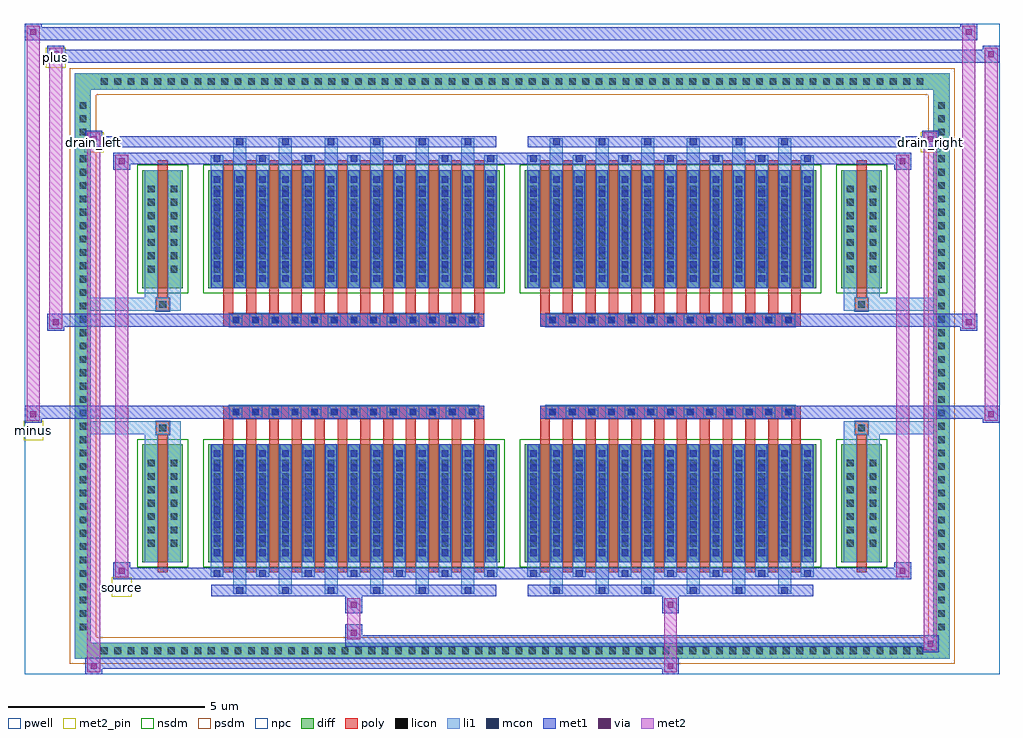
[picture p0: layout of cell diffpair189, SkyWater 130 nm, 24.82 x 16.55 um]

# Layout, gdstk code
import gdstk
lib = gdstk.Library(unit=1e-6, precision=5e-09)
def R(c, l, rs):  # rectangles x0, y0, x1, y1
    for r in rs: c.add(gdstk.rectangle(r[:2], r[2:], *l))
def A(c, l, x, y, w, h, nx, ny, dx, dy):  # array of equal rectangles
    R(c, l, [(x+i*dx, y+j*dy, x+i*dx+w, y+j*dy+h) for i in range(nx) for j in range(ny)])
def P(c, l, *ps):  # polygons
    for p in ps: c.add(gdstk.Polygon(p, *l))
pwell = (64, 44)
diff = (65, 20)
poly = (66, 20)
licon = (66, 44)
li1 = (67, 20)
mcon = (67, 44)
met1 = (68, 20)
via = (68, 44)
met2_pin = (69, 16)
met2 = (69, 20)
nsdm = (93, 44)
psdm = (94, 20)
npc = (95, 20)

diffpair189 = lib.new_cell('diffpair189')
R(diffpair189, pwell, [(-12.39,-7.84,12.39,8.71), (-9.71,-6.03,-0.01,-0.805), (0.01,-6.03,9.71,-0.805), (-9.71,0.805,-0.01,6.03), (0.01,0.805,9.71,6.03)])
A(diffpair189, diff, -10.575, -7.44, 0.41, 0.41, 62, 2, 0.34, 14.47)
A(diffpair189, diff, -11.12, -6.835, 0.41, 0.41, 1, 40, 0, 0.34)
A(diffpair189, diff, 10.71, -6.835, 0.41, 0.41, 1, 40, 0, 0.34)
R(diffpair189, diff, [(-10.575,-7.44,10.575,-7.03), (-11.12,-6.835,-10.71,6.835), (10.71,-6.835,11.12,6.835), (-9.4,-4.985,-8.37,-1.985), (-7.73,-4.985,-0.32,-1.985), (0.32,-4.985,7.73,-1.985), (8.37,-4.985,9.4,-1.985), (-9.4,1.985,-8.37,4.985), (-7.73,1.985,-0.32,4.985), (0.32,1.985,7.73,4.985), (8.37,1.985,9.4,4.985), (-10.575,7.03,10.575,7.44)])
P(diffpair189, diff, [(11.12,7.44),(-11.12,7.44),(-11.12,-7.03),(-10.71,-7.03),(-10.71,7.03),(10.71,7.03),(10.71,-7.03),(-10.71,-7.03),(-11.12,-7.03),(-11.12,-7.44),(11.12,-7.44)])
A(diffpair189, poly, -7.34, -5.235, 0.25, 3.5, 12, 2, 0.58, 6.97)
A(diffpair189, poly, 0.71, -5.235, 0.25, 3.5, 12, 2, 0.58, 6.97)
A(diffpair189, poly, -7.34, -1.735, 0.25, 0.4, 12, 2, 0.58, 3.07)
A(diffpair189, poly, 0.71, -1.735, 0.25, 0.4, 12, 2, 0.58, 3.07)
A(diffpair189, poly, -7.19, -1.335, 0.33, 0.33, 13, 2, 0.5, 2.34)
A(diffpair189, poly, 0.86, -1.335, 0.33, 0.33, 13, 2, 0.5, 2.34)
R(diffpair189, poly, [(-9.01,-5.235,-8.76,-1.735), (8.76,-5.235,9.01,-1.735), (-9.05,-1.735,-8.72,-1.405), (-9.05,-1.735,-8.72,-1.405), (8.72,-1.735,9.05,-1.405), (8.72,-1.735,9.05,-1.405), (-7.34,-1.335,-0.71,-1.005), (0.71,-1.335,7.34,-1.005), (-7.34,1.005,-0.71,1.335), (0.71,1.005,7.34,1.335), (-9.05,1.405,-8.72,1.735), (-9.05,1.405,-8.72,1.735), (8.72,1.405,9.05,1.735), (8.72,1.405,9.05,1.735), (-9.01,1.735,-8.76,5.235), (8.76,1.735,9.01,5.235)])
A(diffpair189, licon, -10.455, -7.32, 0.17, 0.17, 62, 2, 0.34, 14.47)
A(diffpair189, licon, -11, -6.715, 0.17, 0.17, 1, 40, 0, 0.34)
A(diffpair189, licon, 10.83, -6.715, 0.17, 0.17, 1, 40, 0, 0.34)
A(diffpair189, licon, -9.26, -4.59, 0.17, 0.17, 1, 7, 0, 0.34)
A(diffpair189, licon, -8.68, -4.59, 0.17, 0.17, 1, 7, 0, 0.34)
A(diffpair189, licon, -7.59, -4.59, 0.17, 0.17, 13, 7, 0.58, 0.34)
A(diffpair189, licon, 0.46, -4.59, 0.17, 0.17, 13, 7, 0.58, 0.34)
A(diffpair189, licon, 8.51, -4.59, 0.17, 0.17, 1, 7, 0, 0.34)
A(diffpair189, licon, 9.09, -4.59, 0.17, 0.17, 1, 7, 0, 0.34)
A(diffpair189, licon, -7.11, -1.255, 0.17, 0.17, 13, 2, 0.5, 2.34)
A(diffpair189, licon, 0.94, -1.255, 0.17, 0.17, 13, 2, 0.5, 2.34)
A(diffpair189, licon, -9.26, 2.38, 0.17, 0.17, 1, 7, 0, 0.34)
A(diffpair189, licon, -8.68, 2.38, 0.17, 0.17, 1, 7, 0, 0.34)
A(diffpair189, licon, -7.59, 2.38, 0.17, 0.17, 13, 7, 0.58, 0.34)
A(diffpair189, licon, 0.46, 2.38, 0.17, 0.17, 13, 7, 0.58, 0.34)
A(diffpair189, licon, 8.51, 2.38, 0.17, 0.17, 1, 7, 0, 0.34)
A(diffpair189, licon, 9.09, 2.38, 0.17, 0.17, 1, 7, 0, 0.34)
R(diffpair189, licon, [(-8.97,-1.655,-8.8,-1.485), (8.8,-1.655,8.97,-1.485), (-8.97,1.485,-8.8,1.655), (8.8,1.485,8.97,1.655)])
A(diffpair189, li1, -10.535, -7.4, 0.33, 0.33, 62, 2, 0.34, 14.47)
A(diffpair189, li1, -11.08, -6.795, 0.33, 0.33, 1, 40, 0, 0.34)
A(diffpair189, li1, 10.75, -6.795, 0.33, 0.33, 1, 40, 0, 0.34)
A(diffpair189, li1, -7.09, -5.79, 0.33, 0.805, 6, 2, 1.16, 10.775)
A(diffpair189, li1, -7.01, -5.79, 0.17, 0.17, 6, 2, 1.16, 11.41)
A(diffpair189, li1, 0.96, -5.79, 0.33, 0.805, 6, 2, 1.16, 10.775)
A(diffpair189, li1, 1.04, -5.79, 0.17, 0.17, 6, 2, 1.16, 11.41)
A(diffpair189, li1, -7.67, -5.36, 0.33, 0.375, 7, 2, 1.16, 10.345)
A(diffpair189, li1, -7.59, -5.36, 0.17, 0.17, 7, 2, 1.16, 10.55)
A(diffpair189, li1, 0.38, -5.36, 0.33, 0.375, 7, 2, 1.16, 10.345)
A(diffpair189, li1, 0.46, -5.36, 0.17, 0.17, 7, 2, 1.16, 10.55)
A(diffpair189, li1, -7.67, -4.985, 0.33, 3, 13, 2, 0.58, 6.97)
A(diffpair189, li1, 0.38, -4.985, 0.33, 3, 13, 2, 0.58, 6.97)
A(diffpair189, li1, -7.59, -4.83, 0.17, 0.17, 13, 8, 0.58, 0.36)
A(diffpair189, li1, -7.59, -4.83, 0.17, 2.69, 13, 2, 0.58, 6.97)
A(diffpair189, li1, 0.46, -4.83, 0.17, 0.17, 13, 8, 0.58, 0.36)
A(diffpair189, li1, 0.46, -4.83, 0.17, 2.69, 13, 2, 0.58, 6.97)
A(diffpair189, li1, -9.34, -4.67, 0.33, 0.33, 1, 7, 0, 0.34)
A(diffpair189, li1, -8.76, -4.67, 0.33, 0.33, 1, 7, 0, 0.34)
A(diffpair189, li1, -7.67, -4.67, 0.33, 0.33, 13, 7, 0.58, 0.34)
A(diffpair189, li1, 0.38, -4.67, 0.33, 0.33, 13, 7, 0.58, 0.34)
A(diffpair189, li1, 8.43, -4.67, 0.33, 0.33, 1, 7, 0, 0.34)
A(diffpair189, li1, 9.01, -4.67, 0.33, 0.33, 1, 7, 0, 0.34)
A(diffpair189, li1, -7.19, -1.335, 0.33, 0.33, 13, 2, 0.5, 2.34)
A(diffpair189, li1, 0.86, -1.335, 0.33, 0.33, 13, 2, 0.5, 2.34)
A(diffpair189, li1, -7.59, 2.14, 0.17, 0.17, 13, 8, 0.58, 0.36)
A(diffpair189, li1, 0.46, 2.14, 0.17, 0.17, 13, 8, 0.58, 0.36)
A(diffpair189, li1, -9.34, 2.3, 0.33, 0.33, 1, 7, 0, 0.34)
A(diffpair189, li1, -8.76, 2.3, 0.33, 0.33, 1, 7, 0, 0.34)
A(diffpair189, li1, -7.67, 2.3, 0.33, 0.33, 13, 7, 0.58, 0.34)
A(diffpair189, li1, 0.38, 2.3, 0.33, 0.33, 13, 7, 0.58, 0.34)
A(diffpair189, li1, 8.43, 2.3, 0.33, 0.33, 1, 7, 0, 0.34)
A(diffpair189, li1, 9.01, 2.3, 0.33, 0.33, 1, 7, 0, 0.34)
R(diffpair189, li1, [(-11.12,-7.44,-10.71,-7.03), (-11.12,-7.44,-10.71,-7.03), (-10.71,-7.44,10.71,-7.03), (10.71,-7.44,11.12,-7.03), (10.71,-7.44,11.12,-7.03), (-11.12,-7.03,-10.71,7.03), (10.71,-7.03,11.12,7.03), (-9.34,-4.985,-9.01,-1.985), (-8.76,-4.985,-8.43,-1.985), (8.43,-4.985,8.76,-1.985), (9.01,-4.985,9.34,-1.985), (-9.34,-1.985,-9.01,-1.405), (-8.76,-1.985,-8.43,-1.405), (8.43,-1.985,8.76,-1.405), (9.01,-1.985,9.34,-1.405), (-11.12,-1.735,-9.05,-1.405), (-9.34,-1.735,-9.05,-1.405), (-9.05,-1.735,-8.72,-1.405), (-8.72,-1.735,-8.43,-1.405), (8.43,-1.735,8.72,-1.405), (8.72,-1.735,9.05,-1.405), (8.72,-1.735,11.12,-1.405), (9.05,-1.735,9.34,-1.405), (-11.12,1.405,-9.05,1.735), (-9.34,1.405,-9.05,1.735), (-9.34,1.405,-9.01,1.985), (-9.05,1.405,-8.72,1.735), (-8.76,1.405,-8.43,1.985), (-8.72,1.405,-8.43,1.735), (8.43,1.405,8.72,1.735), (8.43,1.405,8.76,1.985), (8.72,1.405,9.05,1.735), (8.72,1.405,11.12,1.735), (9.01,1.405,9.34,1.985), (9.05,1.405,9.34,1.735), (-9.34,1.985,-9.01,4.985), (-8.76,1.985,-8.43,4.985), (8.43,1.985,8.76,4.985), (9.01,1.985,9.34,4.985), (-11.12,7.03,-10.71,7.44), (-11.12,7.03,-10.71,7.44), (-10.71,7.03,10.71,7.44), (10.71,7.03,11.12,7.44), (10.71,7.03,11.12,7.44)])
A(diffpair189, mcon, -7.01, -5.79, 0.17, 0.17, 6, 2, 1.16, 11.41)
A(diffpair189, mcon, 1.04, -5.79, 0.17, 0.17, 6, 2, 1.16, 11.41)
A(diffpair189, mcon, -7.59, -5.36, 0.17, 0.17, 7, 2, 1.16, 10.55)
A(diffpair189, mcon, 0.46, -5.36, 0.17, 0.17, 7, 2, 1.16, 10.55)
A(diffpair189, mcon, -7.59, -4.83, 0.17, 0.17, 13, 8, 0.58, 0.36)
A(diffpair189, mcon, 0.46, -4.83, 0.17, 0.17, 13, 8, 0.58, 0.36)
A(diffpair189, mcon, -7.11, -1.255, 0.17, 0.17, 13, 2, 0.5, 2.34)
A(diffpair189, mcon, 0.94, -1.255, 0.17, 0.17, 13, 2, 0.5, 2.34)
A(diffpair189, mcon, -7.59, 2.14, 0.17, 0.17, 13, 8, 0.58, 0.36)
A(diffpair189, mcon, 0.46, 2.14, 0.17, 0.17, 13, 8, 0.58, 0.36)
A(diffpair189, met1, -7.07, -5.85, 0.29, 0.29, 6, 2, 1.16, 11.41)
A(diffpair189, met1, 0.98, -5.85, 0.29, 0.29, 6, 2, 1.16, 11.41)
A(diffpair189, met1, -7.65, -5.42, 0.29, 0.29, 7, 2, 1.16, 10.55)
A(diffpair189, met1, 0.4, -5.42, 0.29, 0.29, 7, 2, 1.16, 10.55)
A(diffpair189, met1, -7.65, -4.985, 0.29, 3, 13, 2, 0.58, 6.97)
A(diffpair189, met1, 0.4, -4.985, 0.29, 3, 13, 2, 0.58, 6.97)
A(diffpair189, met1, -7.65, -4.89, 0.29, 0.29, 13, 8, 0.58, 0.36)
A(diffpair189, met1, 0.4, -4.89, 0.29, 0.29, 13, 8, 0.58, 0.36)
A(diffpair189, met1, -7.17, -1.315, 0.29, 0.29, 13, 2, 0.5, 2.34)
A(diffpair189, met1, 0.88, -1.315, 0.29, 0.29, 13, 2, 0.5, 2.34)
A(diffpair189, met1, -7.65, 2.08, 0.29, 0.29, 13, 8, 0.58, 0.36)
A(diffpair189, met1, 0.4, 2.08, 0.29, 0.29, 13, 8, 0.58, 0.36)
R(diffpair189, met1, [(-10.85,-7.84,-10.42,-7.41), (3.81,-7.84,4.24,-7.41), (-10.85,-7.7,4.24,-7.41), (10.42,-7.27,10.85,-6.84), (-4.24,-7.13,10.85,-6.84), (-4.24,-6.99,-3.81,-6.56), (-4.24,-6.28,-3.81,-5.85), (3.81,-6.28,4.24,-5.85), (-7.65,-5.85,-0.4,-5.56), (0.4,-5.85,7.65,-5.56), (-10.14,-5.42,-9.71,-4.99), (-10.14,-5.42,-7.65,-5.13), (-7.65,-5.42,-0.4,-5.13), (-0.4,-5.42,0.4,-5.13), (0.4,-5.42,7.65,-5.13), (7.65,-5.42,10.14,-5.13), (9.71,-5.42,10.14,-4.99), (-12.39,-1.435,-11.96,-1.005), (11.96,-1.435,12.39,-1.005), (-12.39,-1.335,-0.71,-1.005), (-7.34,-1.335,-0.71,-1.005), (0.71,-1.335,7.34,-1.005), (0.71,-1.335,12.39,-1.005), (-11.82,0.905,-11.39,1.335), (11.39,0.905,11.82,1.335), (-11.82,1.005,-7.34,1.335), (-7.34,1.005,-0.71,1.335), (0.71,1.005,7.34,1.335), (7.34,1.005,11.82,1.335), (-10.14,4.99,-9.71,5.42), (9.71,4.99,10.14,5.42), (-10.14,5.13,-7.65,5.42), (-7.65,5.13,-0.4,5.42), (-0.4,5.13,0.4,5.42), (0.4,5.13,7.65,5.42), (7.65,5.13,10.14,5.42), (-10.85,5.56,-10.42,5.99), (-10.85,5.56,-7.65,5.85), (-7.65,5.56,-0.4,5.85), (0.4,5.56,7.65,5.85), (7.65,5.56,10.85,5.85), (10.42,5.56,10.85,5.99), (-11.82,7.71,-11.39,8.14), (-11.82,7.71,-9.71,8.04), (-9.71,7.71,9.71,8.04), (9.71,7.71,12.39,8.04), (11.96,7.71,12.39,8.14), (-12.39,8.28,-11.96,8.71), (-12.39,8.28,-9.71,8.61), (-9.71,8.28,9.71,8.61), (9.71,8.28,11.82,8.61), (11.39,8.28,11.82,8.71)])
R(diffpair189, via, [(-10.71,-7.7,-10.56,-7.55), (3.95,-7.7,4.1,-7.55), (10.56,-7.13,10.71,-6.98), (-4.1,-6.85,-3.95,-6.7), (-4.1,-6.14,-3.95,-5.99), (3.95,-6.14,4.1,-5.99), (-10,-5.28,-9.85,-5.13), (9.85,-5.28,10,-5.13), (-12.25,-1.295,-12.1,-1.145), (12.1,-1.295,12.25,-1.145), (-11.68,1.045,-11.53,1.195), (11.53,1.045,11.68,1.195), (-10,5.13,-9.85,5.28), (9.85,5.13,10,5.28), (-10.71,5.7,-10.56,5.85), (10.56,5.7,10.71,5.85), (-11.68,7.85,-11.53,8), (12.1,7.85,12.25,8), (-12.25,8.42,-12.1,8.57), (11.53,8.42,11.68,8.57)])
R(diffpair189, met2_pin, [(-10.175,-5.87,-9.675,-5.37), (-12.425,-1.885,-11.925,-1.385), (-10.885,5.44,-10.385,5.94), (10.385,5.44,10.885,5.94), (-11.855,7.59,-11.355,8.09)])
R(diffpair189, met2, [(-10.8,-7.79,-10.47,-7.46), (-10.8,-7.79,-10.47,5.94), (3.86,-7.79,4.19,-7.46), (3.86,-7.46,4.19,-6.23), (10.47,-7.22,10.8,-6.89), (10.47,-7.22,10.8,5.94), (-4.19,-6.94,-3.86,-6.61), (-4.19,-6.61,-3.86,-6.23), (-4.19,-6.23,-3.86,-5.9), (3.86,-6.23,4.19,-5.9), (-10.09,-5.37,-9.76,-5.04), (-10.09,-5.37,-9.76,5.37), (9.76,-5.37,10.09,-5.04), (9.76,-5.37,10.09,5.37), (-12.34,-1.385,-12.01,-1.055), (-12.34,-1.385,-12.01,8.66), (12.01,-1.385,12.34,-1.055), (12.01,-1.385,12.34,8.09), (-11.77,0.955,-11.44,1.285), (-11.77,0.955,-11.44,8.09), (11.44,0.955,11.77,1.285), (11.44,0.955,11.77,8.66), (-10.09,5.04,-9.76,5.37), (9.76,5.04,10.09,5.37), (-10.8,5.61,-10.47,5.94), (10.47,5.61,10.8,5.94), (-11.77,7.76,-11.44,8.09), (12.01,7.76,12.34,8.09), (-12.34,8.33,-12.01,8.66), (11.44,8.33,11.77,8.66)])
P(diffpair189, met2, [(12.34,-1.385),(12.34,-1.385),(12.34,-1.055),(12.34,-1.055)],
  [(12.34,7.76),(12.34,7.76),(12.34,8.09),(12.34,8.09)],
  [(-12.01,-1.385),(-12.01,-1.385),(-12.01,-1.055),(-12.01,-1.055)],
  [(-12.01,8.33),(-12.01,8.33),(-12.01,8.66),(-12.01,8.66)],
  [(11.77,0.955),(11.77,0.955),(11.77,1.285),(11.77,1.285)],
  [(11.77,8.33),(11.77,8.33),(11.77,8.66),(11.77,8.66)],
  [(-11.44,0.955),(-11.44,0.955),(-11.44,1.285),(-11.44,1.285)],
  [(-11.44,7.76),(-11.44,7.76),(-11.44,8.09),(-11.44,8.09)],
  [(-10.47,-7.79),(-10.47,-7.79),(-10.47,-7.46),(-10.47,-7.46)],
  [(-10.47,5.61),(-10.47,5.61),(-10.47,5.94),(-10.47,5.94)],
  [(10.8,-7.22),(10.8,-7.22),(10.8,-6.89),(10.8,-6.89)],
  [(10.8,5.61),(10.8,5.61),(10.8,5.94),(10.8,5.94)],
  [(-9.76,-5.37),(-9.76,-5.37),(-9.76,-5.04),(-9.76,-5.04)],
  [(-9.76,5.04),(-9.76,5.04),(-9.76,5.37),(-9.76,5.37)],
  [(10.09,-5.37),(10.09,-5.37),(10.09,-5.04),(10.09,-5.04)],
  [(10.09,5.04),(10.09,5.04),(10.09,5.37),(10.09,5.37)])
R(diffpair189, nsdm, [(-9.53,-5.115,-8.24,-1.855), (-7.86,-5.115,-0.19,-1.855), (0.19,-5.115,7.86,-1.855), (8.24,-5.115,9.53,-1.855), (-9.53,1.855,-8.24,5.115), (-7.86,1.855,-0.19,5.115), (0.19,1.855,7.86,5.115), (8.24,1.855,9.53,5.115)])
P(diffpair189, psdm, [(11.25,7.57),(-11.25,7.57),(-11.25,-6.9),(-10.58,-6.9),(-10.58,6.9),(10.58,6.9),(10.58,-6.9),(-10.58,-6.9),(-11.25,-6.9),(-11.25,-7.57),(11.25,-7.57)])
A(diffpair189, npc, -7.21, -1.355, 0.37, 0.37, 13, 2, 0.5, 2.34)
A(diffpair189, npc, 0.84, -1.355, 0.37, 0.37, 13, 2, 0.5, 2.34)
R(diffpair189, npc, [(-9.07,-1.755,-8.7,-1.385), (8.7,-1.755,9.07,-1.385), (-7.21,-1.355,-6.34,-0.985), (-7.21,-1.355,-6.34,-0.985), (-6.71,-1.355,-5.84,-0.985), (-6.71,-1.355,-5.84,-0.985), (-6.21,-1.355,-5.34,-0.985), (-6.21,-1.355,-5.34,-0.985), (-5.71,-1.355,-4.84,-0.985), (-5.71,-1.355,-4.84,-0.985), (-5.21,-1.355,-4.34,-0.985), (-5.21,-1.355,-4.34,-0.985), (-4.71,-1.355,-3.84,-0.985), (-4.71,-1.355,-3.84,-0.985), (-4.21,-1.355,-3.34,-0.985), (-4.21,-1.355,-3.34,-0.985), (-3.71,-1.355,-2.84,-0.985), (-3.71,-1.355,-2.84,-0.985), (-3.21,-1.355,-2.34,-0.985), (-3.21,-1.355,-2.34,-0.985), (-2.71,-1.355,-1.84,-0.985), (-2.71,-1.355,-1.84,-0.985), (-2.21,-1.355,-1.34,-0.985), (-2.21,-1.355,-1.34,-0.985), (-1.71,-1.355,-0.84,-0.985), (-1.71,-1.355,-0.84,-0.985), (0.84,-1.355,1.71,-0.985), (0.84,-1.355,1.71,-0.985), (1.34,-1.355,2.21,-0.985), (1.34,-1.355,2.21,-0.985), (1.84,-1.355,2.71,-0.985), (1.84,-1.355,2.71,-0.985), (2.34,-1.355,3.21,-0.985), (2.34,-1.355,3.21,-0.985), (2.84,-1.355,3.71,-0.985), (2.84,-1.355,3.71,-0.985), (3.34,-1.355,4.21,-0.985), (3.34,-1.355,4.21,-0.985), (3.84,-1.355,4.71,-0.985), (3.84,-1.355,4.71,-0.985), (4.34,-1.355,5.21,-0.985), (4.34,-1.355,5.21,-0.985), (4.84,-1.355,5.71,-0.985), (4.84,-1.355,5.71,-0.985), (5.34,-1.355,6.21,-0.985), (5.34,-1.355,6.21,-0.985), (5.84,-1.355,6.71,-0.985), (5.84,-1.355,6.71,-0.985), (6.34,-1.355,7.21,-0.985), (6.34,-1.355,7.21,-0.985), (-7.21,0.985,-6.34,1.355), (-7.21,0.985,-6.34,1.355), (-6.71,0.985,-5.84,1.355), (-6.71,0.985,-5.84,1.355), (-6.21,0.985,-5.34,1.355), (-6.21,0.985,-5.34,1.355), (-5.71,0.985,-4.84,1.355), (-5.71,0.985,-4.84,1.355), (-5.21,0.985,-4.34,1.355), (-5.21,0.985,-4.34,1.355), (-4.71,0.985,-3.84,1.355), (-4.71,0.985,-3.84,1.355), (-4.21,0.985,-3.34,1.355), (-4.21,0.985,-3.34,1.355), (-3.71,0.985,-2.84,1.355), (-3.71,0.985,-2.84,1.355), (-3.21,0.985,-2.34,1.355), (-3.21,0.985,-2.34,1.355), (-2.71,0.985,-1.84,1.355), (-2.71,0.985,-1.84,1.355), (-2.21,0.985,-1.34,1.355), (-2.21,0.985,-1.34,1.355), (-1.71,0.985,-0.84,1.355), (-1.71,0.985,-0.84,1.355), (0.84,0.985,1.71,1.355), (0.84,0.985,1.71,1.355), (1.34,0.985,2.21,1.355), (1.34,0.985,2.21,1.355), (1.84,0.985,2.71,1.355), (1.84,0.985,2.71,1.355), (2.34,0.985,3.21,1.355), (2.34,0.985,3.21,1.355), (2.84,0.985,3.71,1.355), (2.84,0.985,3.71,1.355), (3.34,0.985,4.21,1.355), (3.34,0.985,4.21,1.355), (3.84,0.985,4.71,1.355), (3.84,0.985,4.71,1.355), (4.34,0.985,5.21,1.355), (4.34,0.985,5.21,1.355), (4.84,0.985,5.71,1.355), (4.84,0.985,5.71,1.355), (5.34,0.985,6.21,1.355), (5.34,0.985,6.21,1.355), (5.84,0.985,6.71,1.355), (5.84,0.985,6.71,1.355), (6.34,0.985,7.21,1.355), (6.34,0.985,7.21,1.355), (-9.07,1.385,-8.7,1.755), (8.7,1.385,9.07,1.755)])
diffpair189.add(gdstk.Label('minus', (-12.175,-1.635), layer=69, texttype=5))
diffpair189.add(gdstk.Label('drain_right', (10.635,5.69), layer=69, texttype=5))
diffpair189.add(gdstk.Label('drain_left', (-10.635,5.69), layer=69, texttype=5))
diffpair189.add(gdstk.Label('source', (-9.925,-5.62), layer=69, texttype=5))
diffpair189.add(gdstk.Label('plus', (-11.605,7.84), layer=69, texttype=5))

lib.write_gds('diffpair189.gds')
